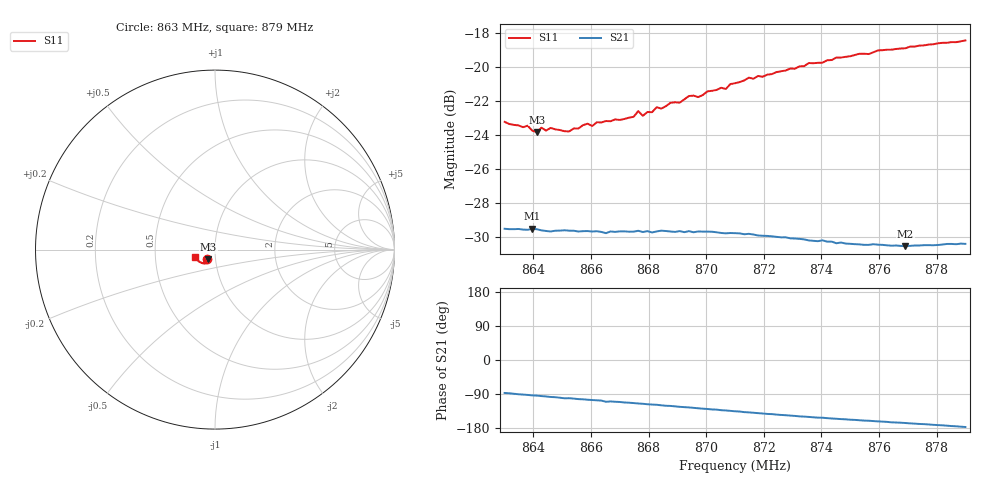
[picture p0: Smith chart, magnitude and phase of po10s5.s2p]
# HZ S RI R 50
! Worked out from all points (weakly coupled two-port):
!   101 points, 863 MHz to 879 MHz, reference 50 ohm
!   highest |S21| = -29.54 dB at 863.96 MHz (marker M1); lowest = -30.6 dB at 876.92 MHz (marker M2)
!   lowest |S11| = -23.8 dB at 864.12 MHz (marker M3), VSWR 1.14, Z = 46.2 - j4.92 ohm
!   |S11| at or under -10 dB: start of sweep to end of sweep
!   S12 and S22 are empty: the file has one direction only
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8.63e8  -0.0435 -0.0534  0.00175 -0.0333  0 0  0 0
8.638e8  -0.0401 -0.0537  -0.00124 -0.0331  0 0  0 0
8.6396e8  -0.038 -0.0526  -0.00201 -0.0333  0 0  0 0
8.6412e8  -0.0363 -0.053  -0.00229 -0.0332  0 0  0 0
8.6428e8  -0.0372 -0.0547  -0.00299 -0.0329  0 0  0 0
8.6524e8  -0.0333 -0.0552  -0.00616 -0.0323  0 0  0 0
8.6572e8  -0.0341 -0.058  -0.0078 -0.0319  0 0  0 0
8.6604e8  -0.0326 -0.0585  -0.00883 -0.0315  0 0  0 0
8.6748e8  -0.0328 -0.0632  -0.0131 -0.03  0 0  0 0
8.6764e8  -0.0355 -0.065  -0.0138 -0.0299  0 0  0 0
8.678e8  -0.0339 -0.0632  -0.0141 -0.0294  0 0  0 0
8.6828e8  -0.0348 -0.0676  -0.0155 -0.0289  0 0  0 0
8.6844e8  -0.0347 -0.0668  -0.0162 -0.0286  0 0  0 0
8.6876e8  -0.0364 -0.0694  -0.017 -0.028  0 0  0 0
8.6908e8  -0.0376 -0.0688  -0.0182 -0.0273  0 0  0 0
8.694e8  -0.0398 -0.0717  -0.0189 -0.0268  0 0  0 0
8.6972e8  -0.04 -0.0709  -0.0199 -0.026  0 0  0 0
8.71e8  -0.0481 -0.0754  -0.023 -0.0228  0 0  0 0
8.7372e8  -0.0685 -0.0762  -0.0269 -0.0148  0 0  0 0
8.7644e8  -0.0937 -0.0618  -0.0287 -0.00793  0 0  0 0
8.7692e8  -0.0972 -0.0585  -0.0288 -0.00702  0 0  0 0
8.79e8  -0.1129 -0.0392  -0.0301 -0.00166  0 0  0 0
